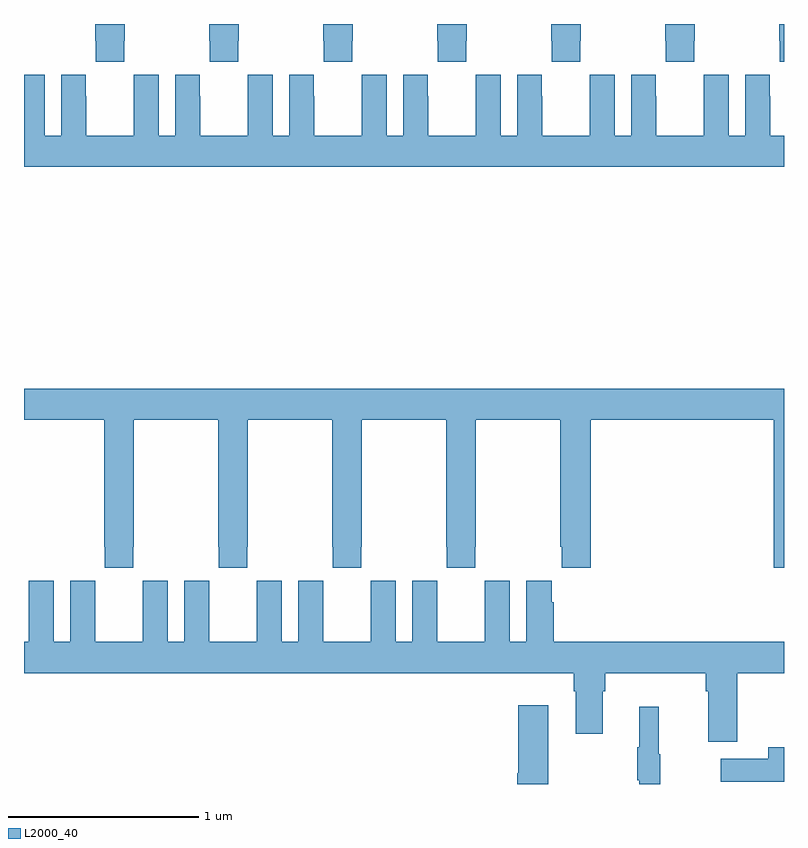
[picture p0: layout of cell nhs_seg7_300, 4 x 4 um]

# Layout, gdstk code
import gdstk
lib = gdstk.Library(unit=1e-6, precision=1e-09)
def P(c, l, *ps):  # polygons
    for p in ps: c.add(gdstk.Polygon(p, *l))
L2000_40 = (2000, 40)

nhs_seg7_300 = lib.new_cell('nhs_seg7_300')
P(nhs_seg7_300, L2000_40, [(133.527,1035.913),(133.53,1035.913),(133.53,1036),(133.375,1036),(133.375,1035.913),(133.377,1035.913),(133.377,1035.801),(133.527,1035.801)],
  [(134.127,1035.913),(134.13,1035.913),(134.13,1036),(133.975,1036),(133.975,1035.913),(133.977,1035.913),(133.977,1035.801),(134.127,1035.801)],
  [(134.727,1035.913),(134.73,1035.913),(134.73,1036),(134.575,1036),(134.575,1035.913),(134.577,1035.913),(134.577,1035.801),(134.727,1035.801)],
  [(135.327,1035.913),(135.33,1035.913),(135.33,1036),(135.175,1036),(135.175,1035.913),(135.177,1035.913),(135.177,1035.801),(135.327,1035.801)],
  [(135.927,1035.913),(135.93,1035.913),(135.93,1036),(135.775,1036),(135.775,1035.913),(135.777,1035.913),(135.777,1035.801),(135.927,1035.801)],
  [(136.527,1035.913),(136.53,1035.913),(136.53,1036),(136.375,1036),(136.375,1035.913),(136.377,1035.913),(136.377,1035.801),(136.527,1035.801)],
  [(137,1036),(136.975,1036),(136.975,1035.913),(136.977,1035.913),(136.977,1035.801),(137,1035.801)],
  [(137,1035.412),(136.927,1035.412),(136.927,1035.62),(136.926,1035.62),(136.926,1035.733),(136.796,1035.733),(136.796,1035.412),(136.708,1035.412),(136.708,1035.733),(136.578,1035.733),(136.578,1035.62),(136.577,1035.62),(136.577,1035.412),(136.327,1035.412),(136.327,1035.62),(136.326,1035.62),(136.326,1035.733),(136.196,1035.733),(136.196,1035.412),(136.108,1035.412),(136.108,1035.733),(135.978,1035.733),(135.978,1035.62),(135.977,1035.62),(135.977,1035.412),(135.727,1035.412),(135.727,1035.62),(135.726,1035.62),(135.726,1035.733),(135.596,1035.733),(135.596,1035.412),(135.508,1035.412),(135.508,1035.733),(135.378,1035.733),(135.378,1035.62),(135.377,1035.62),(135.377,1035.412),(135.127,1035.412),(135.127,1035.62),(135.126,1035.62),(135.126,1035.733),(134.996,1035.733),(134.996,1035.412),(134.908,1035.412),(134.908,1035.733),(134.778,1035.733),(134.778,1035.62),(134.777,1035.62),(134.777,1035.412),(134.527,1035.412),(134.527,1035.62),(134.526,1035.62),(134.526,1035.733),(134.396,1035.733),(134.396,1035.412),(134.308,1035.412),(134.308,1035.733),(134.178,1035.733),(134.178,1035.62),(134.177,1035.62),(134.177,1035.412),(133.927,1035.412),(133.927,1035.62),(133.926,1035.62),(133.926,1035.733),(133.796,1035.733),(133.796,1035.412),(133.708,1035.412),(133.708,1035.733),(133.578,1035.733),(133.578,1035.62),(133.577,1035.62),(133.577,1035.412),(133.327,1035.412),(133.327,1035.62),(133.326,1035.62),(133.326,1035.733),(133.196,1035.733),(133.196,1035.412),(133.108,1035.412),(133.108,1035.733),(133,1035.733),(133,1035.248),(137,1035.248)],
  [(133.575,1033.249),(133.578,1033.249),(133.578,1033.916),(134.023,1033.916),(134.023,1033.249),(134.025,1033.249),(134.025,1033.137),(134.175,1033.137),(134.175,1033.249),(134.178,1033.249),(134.178,1033.916),(134.623,1033.916),(134.623,1033.249),(134.625,1033.249),(134.625,1033.137),(134.775,1033.137),(134.775,1033.249),(134.778,1033.249),(134.778,1033.916),(135.223,1033.916),(135.223,1033.249),(135.225,1033.249),(135.225,1033.137),(135.375,1033.137),(135.375,1033.249),(135.378,1033.249),(135.378,1033.916),(135.823,1033.916),(135.823,1033.249),(135.829,1033.249),(135.829,1033.137),(135.983,1033.137),(135.983,1033.916),(136.946,1033.916),(136.946,1033.137),(137,1033.137),(137,1034.08),(133,1034.08),(133,1033.916),(133.423,1033.916),(133.423,1033.249),(133.425,1033.249),(133.425,1033.137),(133.575,1033.137)],
  [(135.893,1032.488),(135.905,1032.488),(135.905,1032.264),(136.045,1032.264),(136.045,1032.488),(136.058,1032.488),(136.058,1032.584),(136.589,1032.584),(136.589,1032.488),(136.601,1032.488),(136.601,1032.222),(136.754,1032.222),(136.754,1032.584),(137,1032.584),(137,1032.748),(135.788,1032.748),(135.788,1032.956),(135.778,1032.956),(135.778,1033.069),(135.644,1033.069),(135.644,1032.748),(135.556,1032.748),(135.556,1033.069),(135.426,1033.069),(135.426,1032.956),(135.425,1032.956),(135.425,1032.748),(135.175,1032.748),(135.175,1032.956),(135.174,1032.956),(135.174,1033.069),(135.044,1033.069),(135.044,1032.748),(134.956,1032.748),(134.956,1033.069),(134.826,1033.069),(134.826,1032.956),(134.825,1032.956),(134.825,1032.748),(134.575,1032.748),(134.575,1032.956),(134.574,1032.956),(134.574,1033.069),(134.444,1033.069),(134.444,1032.748),(134.356,1032.748),(134.356,1033.069),(134.226,1033.069),(134.226,1032.956),(134.225,1032.956),(134.225,1032.748),(133.975,1032.748),(133.975,1032.956),(133.974,1032.956),(133.974,1033.069),(133.844,1033.069),(133.844,1032.748),(133.756,1032.748),(133.756,1033.069),(133.626,1033.069),(133.626,1032.956),(133.625,1032.956),(133.625,1032.748),(133.375,1032.748),(133.375,1032.956),(133.374,1032.956),(133.374,1033.069),(133.244,1033.069),(133.244,1032.748),(133.156,1032.748),(133.156,1033.069),(133.026,1033.069),(133.026,1032.956),(133.025,1032.956),(133.025,1032.748),(133,1032.748),(133,1032.584),(135.893,1032.584)],
  [(135.76,1032.415),(135.602,1032.415),(135.602,1032.057),(135.596,1032.057),(135.596,1032),(135.76,1032)],
  [(136.348,1032.156),(136.34,1032.156),(136.34,1032.406),(136.238,1032.406),(136.238,1032.193),(136.227,1032.193),(136.227,1032.019),(136.238,1032.019),(136.238,1032),(136.348,1032)],
  [(137,1032.193),(136.916,1032.193),(136.916,1032.133),(136.667,1032.133),(136.667,1032.011),(137,1032.011)])

lib.write_gds('nhs_seg7_300.gds')
